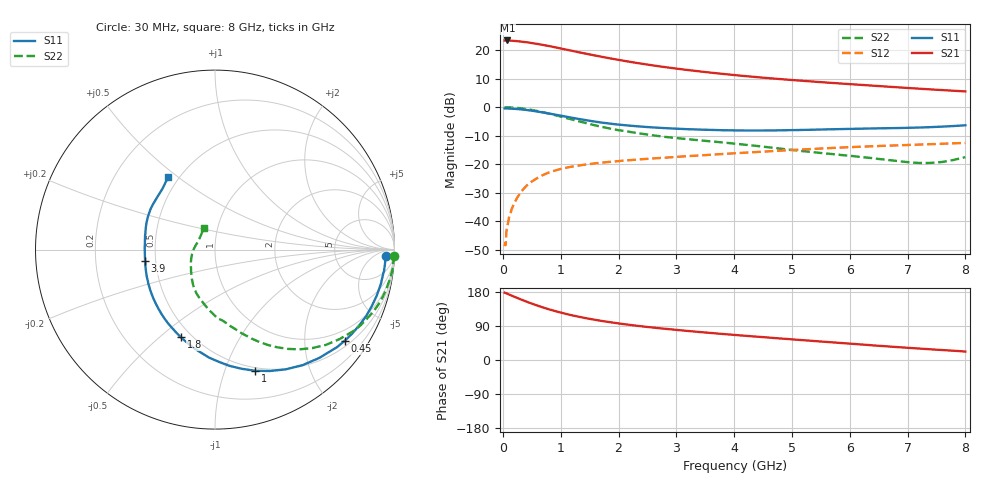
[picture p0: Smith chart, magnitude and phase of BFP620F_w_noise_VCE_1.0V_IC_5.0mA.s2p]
! Infineon Technologies  Discrete & RF Semiconductors
! BFP620F
! VCE =  1.0 V,  IC =  5.0 mA
! Common Emitter S-Parameters:  Dec 2014
# GHz  S  MA  R  50
!  f  S11  S21  S12  S22
! GHz  MAG  ANG  MAG  ANG  MAG  ANG  MAG  ANG
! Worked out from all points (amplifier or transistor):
!   95 points, 30 MHz to 8 GHz, reference 50 ohm
!   highest |S21| = 23.4 dB at 80 MHz (marker M1)
!   |S21| within 3 dB of that: start of sweep to 1.047 GHz
!   unconditionally stable (mu >= 1): 5.243 GHz to end of sweep
!   at 300 MHz: K = 0.08, MSG = 26.5 dB, |S12| = -30.1 dB
!   at 3.3 GHz: K = 0.83, MSG = 14.9 dB, |S12| = -17.0 dB
!   at 8 GHz: K = 1.12, MAG = 6.9 dB, |S12| = -12.5 dB
!   lowest NFmin = 0.52 dB at 450 MHz
!   S11 on the Smith chart (normalised r, x): 30 MHz: 24, -19; 450 MHz: 0.66, -3.03; 1 GHz: 0.47, -1.27; 1.8 GHz: 0.44, -0.59; 3.9 GHz: 0.44, -0.06; 8 GHz: 0.44, +0.46
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0.03  0.9507 -2.3  14.69 177.7  0.0037 93.2  0.9964 -1.9
0.05  0.9504 -4.1  14.7 176.5  0.0039 91.2  0.9951 -3.2
0.06  0.9503 -4.9  14.7 176.1  0.0065 84.0  0.9978 -3.7
0.08  0.9493 -6.4  14.73 174.6  0.0083 87.6  0.9947 -5.0
0.25  0.9284 -19.9  14.3 163.6  0.0263 79.3  0.9714 -15.6
0.45  0.8835 -35.1  13.52 151.6  0.0458 70.8  0.9148 -27.4
0.6  0.8382 -46.0  12.79 143.4  0.058 65.5  0.8543 -35.7
0.7  0.808 -52.8  12.26 138.4  0.0656 61.9  0.8144 -40.7
0.8  0.7745 -59.5  11.74 133.6  0.0724 58.9  0.7707 -45.4
1  0.7111 -71.7  10.67 125.2  0.0831 53.6  0.6865 -53.7
1.2  0.6527 -82.9  9.683 117.8  0.0916 49.4  0.6085 -60.9
1.4  0.6028 -93.1  8.79 111.5  0.0983 46.2  0.5396 -67.3
1.6  0.5591 -102.7  8.013 105.9  0.1042 43.7  0.4807 -73.3
1.8  0.5246 -111.2  7.328 101.0  0.1094 41.7  0.4336 -78.8
2.2  0.4752 -126.5  6.221 92.6  0.1186 38.7  0.3692 -90.0
2.7  0.4365 -142.3  5.206 84.0  0.1289 36.1  0.3124 -100.7
3.2  0.4122 -155.5  4.475 76.6  0.1393 34.3  0.2752 -110.0
3.9  0.3945 -170.9  3.742 67.5  0.1538 32.1  0.2363 -120.5
4.1  0.3923 -174.9  3.575 65.0  0.158 31.4  0.2254 -123.3
5.4  0.4049 162.1  2.794 49.9  0.1871 26.3  0.1622 -146.0
6.7  0.4297 141.9  2.274 35.4  0.213 19.6  0.1181 178.4
8  0.4828 123.0  1.889 22.3  0.2372 13.1  0.134 118.2
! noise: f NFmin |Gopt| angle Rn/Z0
0.45  0.52  0.46  9  0.28
0.9  0.59  0.43  20  0.24
1.5  0.66  0.38  26  0.22
1.8  0.7  0.36  30  0.21
1.9  0.71  0.31  42  0.23
2.4  0.77  0.28  56  0.21
3.5  0.9  0.27  77  0.16
5.5  1.12  0.18  155  0.13
6  1.17  0.14  173  0.25
